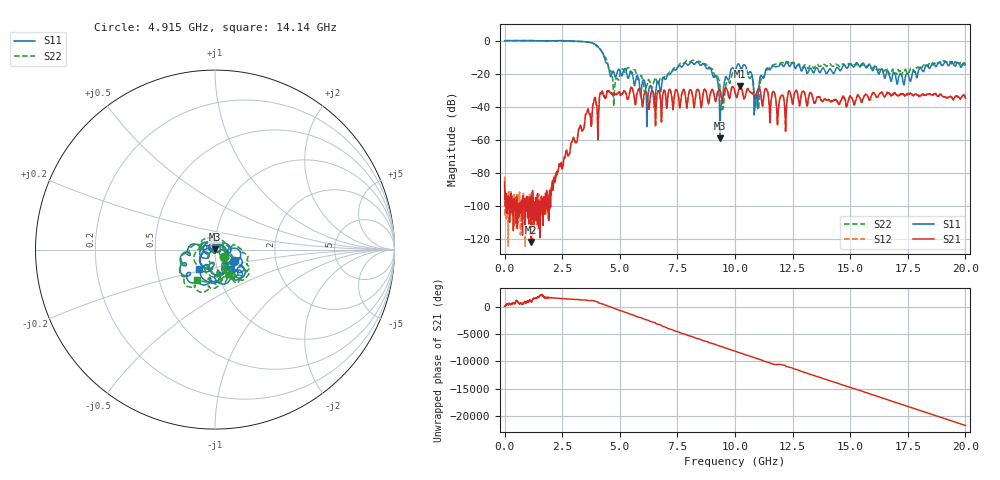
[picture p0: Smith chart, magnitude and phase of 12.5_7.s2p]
#  HZ  S  RI  R  50.00
! Rohde & Schwarz Vector Network Analyzer
! Rohde-Schwarz,ZNB20-2Port,1311601062102128,3.60
! Created: UTC 4/29/2024, 2:56:58 PM
! freq[Hz]  re:S11  im:S11  re:S21  im:S21  re:S12  im:S12  re:S22  im:S22
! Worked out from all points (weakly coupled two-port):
!   2007 points, 100 kHz to 20 GHz, reference 50 ohm
!   highest |S21| = -27.68 dB at 10.23 GHz (marker M1); lowest = -121.9 dB at 1.157 GHz (marker M2)
!   lowest |S11| = -59.0 dB at 9.342 GHz (marker M3), VSWR 1.00, Z = 50 + j0.104 ohm
!   |S11| at or under -10 dB: 4.326 GHz to end of sweep
!   |S22| runs from -42.0 to 0.1 dB; largest |S21 - S12| = 0.0022
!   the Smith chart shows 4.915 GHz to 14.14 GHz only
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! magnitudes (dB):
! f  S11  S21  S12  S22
! 100 kHz  0.0  -85.6  -82.3  0.1
! 1.157 GHz  0.0  -121.9  -94.8  0.0
! 2.223 GHz  -0.1  -81.7  -82.4  -0.3
! 3.34 GHz  -0.6  -53.8  -53.6  -0.6
! 4.158 GHz  -5.5  -31.9  -31.5  -5.2
! 4.776 GHz  -20.7  -32.4  -32.4  -28.7
! 5.354 GHz  -22.8  -35.3  -35.2  -16.3
! 6.211 GHz  -35.2  -35.8  -36.0  -24.9
! 6.67 GHz  -24.8  -30.3  -30.4  -26.5
! 8.375 GHz  -12.8  -29.5  -29.5  -12.9
! 9.173 GHz  -21.2  -36.4  -36.3  -22.5
! 9.342 GHz  -59.0  -30.1  -30.1  -26.8
! 9.482 GHz  -32.2  -34.2  -34.2  -40.7
! 10 GHz  -18.7  -31.5  -31.4  -19.5
! 10.23 GHz  -16.0  -27.7  -27.7  -16.8
! 10.69 GHz  -19.0  -31.5  -31.4  -22.1
! 10.91 GHz  -33.4  -32.6  -32.6  -36.3
! 11.42 GHz  -16.7  -30.9  -30.8  -16.9
! 11.86 GHz  -15.7  -45.7  -45.8  -14.1
! 13.34 GHz  -18.0  -32.8  -32.8  -15.3
! 16.67 GHz  -19.1  -31.8  -31.8  -20.5
! 20 GHz  -14.6  -34.9  -35.0  -14.4
